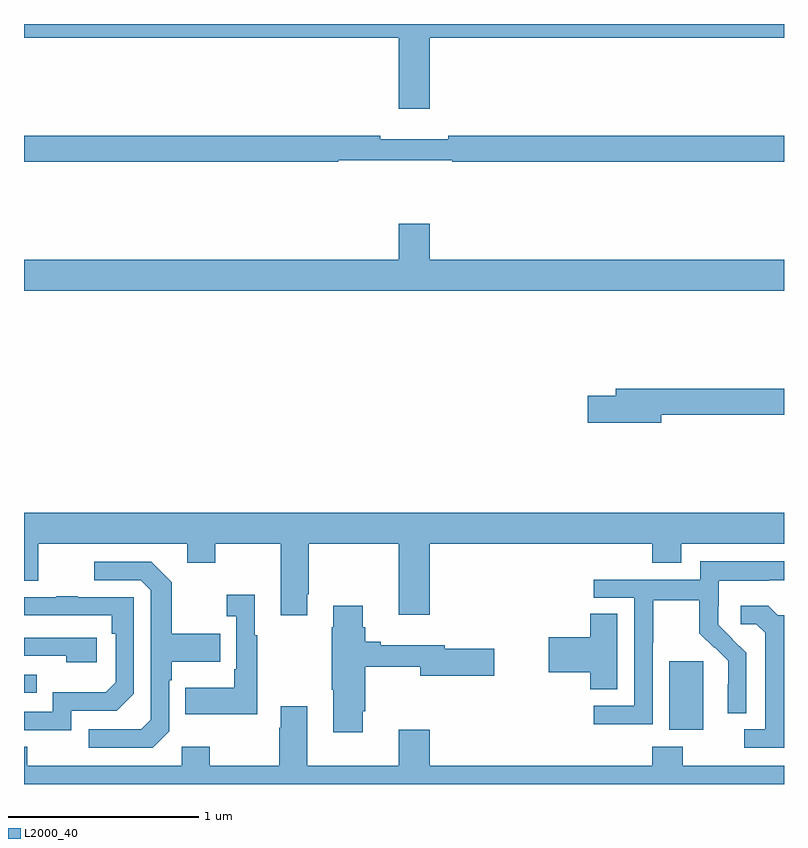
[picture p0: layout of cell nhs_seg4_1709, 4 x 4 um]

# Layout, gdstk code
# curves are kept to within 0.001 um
import gdstk
lib = gdstk.Library(unit=1e-6, precision=1e-09)
def R(c, l, rs):  # rectangles x0, y0, x1, y1
    for r in rs: c.add(gdstk.rectangle(r[:2], r[2:], *l))
def P(c, l, *ps):  # polygons
    for p in ps: c.add(gdstk.Polygon(p, *l))
L2000_40 = (2000, 40)

nhs_seg4_1709 = lib.new_cell('nhs_seg4_1709')
R(nhs_seg4_1709, L2000_40, [(202.397,785.186,202.576,785.547), (199,785.379,199.067,785.475)])
P(nhs_seg4_1709, L2000_40, [(201.136,788.828),(203,788.828),(203,788.9),(199,788.9),(199,788.828),(200.972,788.828),(200.972,788.454),(201.136,788.454)],
  [(200.655,788.184),(201.255,788.184),(201.255,788.176),(203,788.176),(203,788.312),(201.232,788.312),(201.232,788.293),(200.876,788.293),(200.876,788.312),(199,788.312),(199,788.176),(200.655,788.176)],
  [(203,787.66),(201.136,787.66),(201.136,787.849),(200.972,787.849),(200.972,787.66),(199,787.66),(199,787.496),(203,787.496)],
  [(202.354,786.844),(203,786.844),(203,786.98),(202.115,786.98),(202.115,786.944),(201.966,786.944),(201.966,786.802),(202.354,786.802)],
  [(200.491,785.899),(200.499,785.899),(200.499,786.164),(200.972,786.164),(200.972,785.79),(201.136,785.79),(201.136,786.164),(202.307,786.164),(202.307,786.065),(202.459,786.065),(202.459,786.164),(203,786.164),(203,786.328),(199,786.328),(199,785.97),(199.075,785.97),(199.075,786.164),(199.859,786.164),(199.859,786.065),(200.007,786.065),(200.007,786.164),(200.351,786.164),(200.351,785.787),(200.491,785.787)],
  [(202.308,785.644),(202.311,785.644),(202.311,785.868),(202.555,785.868),(202.555,785.693),(202.632,785.616),(202.635,785.619),(202.706,785.549),(202.706,785.426),(202.704,785.426),(202.704,785.272),(202.8,785.272),(202.8,785.59),(202.654,785.738),(202.654,785.835),(202.656,785.835),(202.656,785.969),(202.919,785.969),(202.919,785.973),(203,785.973),(203,786.073),(202.56,786.073),(202.56,785.976),(201.999,785.976),(201.999,785.88),(202.212,785.88),(202.212,785.313),(201.999,785.313),(201.999,785.215),(202.308,785.215)],
  [(199.764,785.178),(199.764,785.447),(199.777,785.447),(199.777,785.543),(200.033,785.543),(200.033,785.691),(199.777,785.691),(199.777,785.963),(199.671,786.069),(199.371,786.069),(199.371,785.973),(199.614,785.973),(199.668,785.919),(199.668,785.238),(199.617,785.187),(199.341,785.187),(199.341,785.091),(199.677,785.091)],
  [(200.227,785.683),(200.215,785.683),(200.215,785.896),(200.067,785.896),(200.067,785.783),(200.118,785.783),(200.118,785.503),(200.106,785.503),(200.106,785.407),(199.849,785.407),(199.849,785.267),(200.227,785.267)],
  [(199.248,785.286),(199.488,785.286),(199.578,785.376),(199.578,785.883),(199.283,785.883),(199.283,785.888),(199.171,785.888),(199.171,785.883),(199,785.883),(199,785.787),(199.462,785.787),(199.462,785.69),(199.482,785.69),(199.482,785.436),(199.429,785.383),(199.152,785.383),(199.152,785.28),(199,785.28),(199,785.184),(199.248,785.184)],
  [(203,785.787),(202.968,785.787),(202.916,785.839),(202.773,785.839),(202.773,785.742),(202.854,785.742),(202.901,785.695),(202.901,785.187),(202.791,785.187),(202.791,785.091),(203,785.091)],
  [(200.782,785.284),(200.795,785.284),(200.795,785.516),(201.086,785.516),(201.086,785.47),(201.475,785.47),(201.475,785.612),(201.214,785.612),(201.214,785.629),(200.878,785.629),(200.878,785.648),(200.795,785.648),(200.795,785.726),(200.782,785.726),(200.782,785.839),(200.627,785.839),(200.627,785.726),(200.62,785.726),(200.62,785.395),(200.627,785.395),(200.627,785.172),(200.782,785.172)],
  [(202.123,785.795),(201.98,785.795),(201.98,785.672),(201.762,785.672),(201.762,785.489),(201.98,785.489),(201.98,785.398),(202.123,785.398)],
  [(199.384,785.67),(199,785.67),(199,785.574),(199.223,785.574),(199.223,785.54),(199.384,785.54)],
  [(203,784.996),(202.467,784.996),(202.467,785.095),(202.307,785.095),(202.307,784.996),(201.136,784.996),(201.136,785.185),(200.972,785.185),(200.972,784.996),(200.491,784.996),(200.491,785.308),(200.351,785.308),(200.351,785.195),(200.344,785.195),(200.344,784.996),(199.977,784.996),(199.977,785.095),(199.83,785.095),(199.83,784.996),(199.017,784.996),(199.017,785.095),(199,785.095),(199,784.9),(203,784.9)])

lib.write_gds('nhs_seg4_1709.gds')
